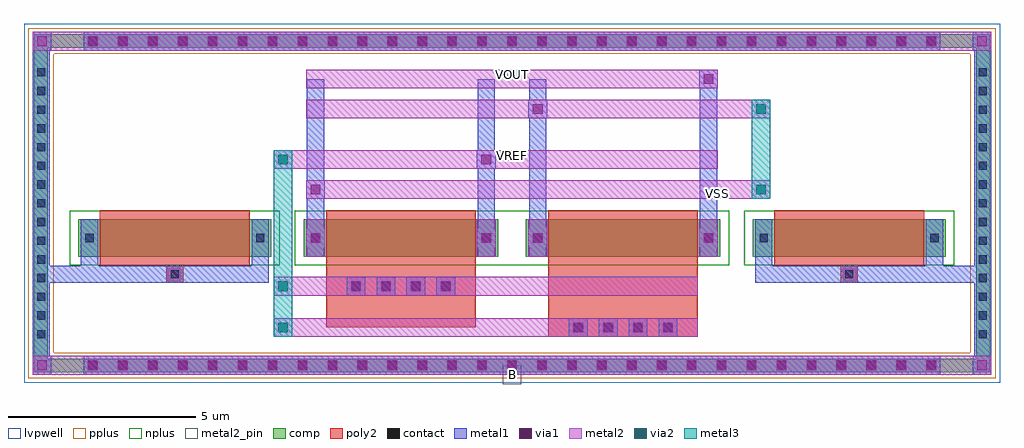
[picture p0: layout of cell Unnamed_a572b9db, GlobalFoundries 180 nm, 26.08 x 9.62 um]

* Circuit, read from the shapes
.subckt Unnamed_a572b9db B VOUT VREF VSS
XM1 B B B B nfet_03v3 w=1u l=4u m=2
XM2 VREF VREF VSS B nfet_03v3 w=1u l=4u
XM3 VOUT VREF VSS B nfet_03v3 w=1u l=4u
.ends

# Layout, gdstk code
import gdstk
lib = gdstk.Library(unit=1e-6, precision=5e-09)
def R(c, l, rs):  # rectangles x0, y0, x1, y1
    for r in rs: c.add(gdstk.rectangle(r[:2], r[2:], *l))
def A(c, l, x, y, w, h, nx, ny, dx, dy):  # array of equal rectangles
    R(c, l, [(x+i*dx, y+j*dy, x+i*dx+w, y+j*dy+h) for i in range(nx) for j in range(ny)])
def P(c, l, *ps):  # polygons
    for p in ps: c.add(gdstk.Polygon(p, *l))
comp = (22, 0)
poly2 = (30, 0)
pplus = (31, 0)
nplus = (32, 0)
contact = (33, 0)
metal1 = (34, 0)
via1 = (35, 0)
metal2 = (36, 0)
metal2_pin = (36, 10)
via2 = (38, 0)
metal3 = (42, 0)
lvpwell = (204, 0)

unnamed_a572b9db = lib.new_cell('Unnamed_a572b9db')
A(unnamed_a572b9db, comp, -11.38, -4.51, 0.36, 0.36, 29, 2, 0.8, 8.66)
A(unnamed_a572b9db, comp, -12.76, -3.68, 0.36, 0.36, 1, 15, 0, 0.5)
A(unnamed_a572b9db, comp, 12.4, -3.68, 0.36, 0.36, 1, 15, 0, 0.5)
R(unnamed_a572b9db, comp, [(-11.38,-4.51,11.38,-4.15), (-12.76,-3.68,-12.4,3.68), (12.4,-3.68,12.76,3.68), (-11.59,-1.43,-6.43,-0.43), (-5.57,-1.43,-0.37,-0.43), (0.37,-1.43,5.57,-0.43), (6.43,-1.43,11.59,-0.43), (-11.38,4.15,11.38,4.51)])
P(unnamed_a572b9db, comp, [(12.76,4.51),(-12.76,4.51),(-12.76,-4.15),(-12.4,-4.15),(-12.4,4.15),(12.4,4.15),(12.4,-4.15),(-12.4,-4.15),(-12.76,-4.15),(-12.76,-4.51),(12.76,-4.51)])
A(unnamed_a572b9db, poly2, 1.59, -3.5, 0.36, 0.36, 4, 1, 0.8, 0)
A(unnamed_a572b9db, poly2, -4.35, -2.4, 0.36, 0.36, 4, 1, 0.8, 0)
R(unnamed_a572b9db, poly2, [(0.97,-3.57,4.97,-3.07), (-4.97,-3.32,-0.97,-1.67), (0.97,-3.07,4.97,-1.67), (-4.97,-2.47,-0.97,-1.97), (-9.24,-2.13,-8.78,-1.67), (8.78,-2.13,9.24,-1.67), (-9.19,-2.08,-8.83,-1.72), (8.83,-2.08,9.19,-1.72), (-4.97,-1.97,-0.97,-1.67), (-11.01,-1.67,-7.01,-0.19), (-4.97,-1.67,-0.97,-0.19), (0.97,-1.67,4.97,-0.19), (7.01,-1.67,11.01,-0.19)])
P(unnamed_a572b9db, pplus, [(12.92,4.67),(-12.92,4.67),(-12.92,-3.99),(-12.24,-3.99),(-12.24,3.99),(12.24,3.99),(12.24,-3.99),(-12.24,-3.99),(-12.92,-3.99),(-12.92,-4.67),(12.92,-4.67)])
R(unnamed_a572b9db, nplus, [(-11.82,-1.66,-6.2,-0.2), (-5.8,-1.66,-0.14,-0.2), (-5.8,-1.66,5.8,-0.2), (0.14,-1.66,5.8,-0.2), (6.2,-1.66,11.82,-0.2)])
A(unnamed_a572b9db, contact, -11.31, -4.44, 0.22, 0.22, 29, 2, 0.8, 8.66)
A(unnamed_a572b9db, contact, -12.69, -3.61, 0.22, 0.22, 1, 15, 0, 0.5)
A(unnamed_a572b9db, contact, 12.47, -3.61, 0.22, 0.22, 1, 15, 0, 0.5)
A(unnamed_a572b9db, contact, 1.66, -3.43, 0.22, 0.22, 4, 1, 0.8, 0)
A(unnamed_a572b9db, contact, -4.28, -2.33, 0.22, 0.22, 4, 1, 0.8, 0)
R(unnamed_a572b9db, contact, [(-9.12,-2.01,-8.9,-1.79), (8.9,-2.01,9.12,-1.79), (-11.4,-1.04,-11.18,-0.82), (-6.84,-1.04,-6.62,-0.82), (-5.36,-1.04,-5.14,-0.82), (-0.8,-1.04,-0.58,-0.82), (0.58,-1.04,0.8,-0.82), (5.14,-1.04,5.36,-0.82), (6.62,-1.04,6.84,-0.82), (11.18,-1.04,11.4,-0.82)])
A(unnamed_a572b9db, metal1, -11.45, -4.58, 0.5, 0.5, 29, 2, 0.8, 8.66)
A(unnamed_a572b9db, metal1, -12.81, -3.73, 0.46, 0.46, 1, 15, 0, 0.5)
A(unnamed_a572b9db, metal1, 12.35, -3.73, 0.46, 0.46, 1, 15, 0, 0.5)
A(unnamed_a572b9db, metal1, 1.52, -3.57, 0.5, 0.5, 4, 1, 0.8, 0)
A(unnamed_a572b9db, metal1, -4.42, -2.47, 0.5, 0.5, 4, 1, 0.8, 0)
R(unnamed_a572b9db, metal1, [(-12.81,-4.58,-12.31,-4.08), (-12.81,-4.58,-12.31,-4.08), (-12.81,-4.58,-12.35,-4.15), (-11.45,-4.58,11.45,-4.08), (12.31,-4.58,12.81,-4.08), (12.31,-4.58,12.81,-4.08), (12.35,-4.58,12.81,-4.15), (-12.81,-4.15,-12.35,4.15), (12.35,-4.15,12.81,4.15), (-12.81,-2.13,-9.24,-1.67), (-11.52,-2.13,-9.24,-1.67), (-11.52,-2.13,-11.06,-1.43), (-9.24,-2.13,-8.78,-1.67), (-8.78,-2.13,-6.5,-1.67), (-6.96,-2.13,-6.5,-1.43), (6.5,-2.13,8.78,-1.67), (6.5,-2.13,6.96,-1.43), (8.78,-2.13,9.24,-1.67), (9.24,-2.13,11.52,-1.67), (9.24,-2.13,12.81,-1.67), (11.06,-2.13,11.52,-1.43), (-11.52,-1.43,-11.06,-0.43), (-6.96,-1.43,-6.5,-0.43), (-5.48,-1.43,-5.02,-0.43), (-0.92,-1.43,-0.46,-0.43), (0.46,-1.43,0.92,-0.43), (5.02,-1.43,5.48,-0.43), (6.5,-1.43,6.96,-0.43), (11.06,-1.43,11.52,-0.43), (-5.5,-1.18,-5,-0.68), (-5.5,-1.18,-5,-0.68), (-0.94,-1.18,-0.44,-0.68), (-0.94,-1.18,-0.44,-0.68), (0.44,-1.18,0.94,-0.68), (0.44,-1.18,0.94,-0.68), (5,-1.18,5.5,-0.68), (5,-1.18,5.5,-0.68), (-11.52,-1.16,-11.06,-0.7), (-6.96,-1.16,-6.5,-0.7), (-5.48,-1.16,-5.02,-0.7), (-0.92,-1.16,-0.46,-0.7), (0.46,-1.16,0.92,-0.7), (5.02,-1.16,5.48,-0.7), (6.5,-1.16,6.96,-0.7), (11.06,-1.16,11.52,-0.7), (-5.48,-0.43,-5.02,0.62), (-5.48,-0.43,-5.02,3.32), (-0.92,-0.43,-0.46,1.42), (-0.92,-0.43,-0.46,3.32), (0.46,-0.43,0.92,2.77), (0.46,-0.43,0.92,3.32), (5.02,-0.43,5.48,3.57), (5.02,-0.43,5.48,3.32), (-5.5,0.12,-5,0.62), (-0.94,0.92,-0.44,1.42), (0.44,2.27,0.94,2.77), (5,3.07,5.5,3.57), (-12.81,4.08,-12.31,4.58), (-12.81,4.08,-12.31,4.58), (-11.45,4.08,11.45,4.58), (12.31,4.08,12.81,4.58), (12.31,4.08,12.81,4.58), (-12.81,4.15,-12.35,4.58), (12.35,4.15,12.81,4.58)])
A(unnamed_a572b9db, via1, -11.33, -4.46, 0.26, 0.26, 29, 2, 0.8, 8.66)
A(unnamed_a572b9db, via1, 1.64, -3.45, 0.26, 0.26, 4, 1, 0.8, 0)
A(unnamed_a572b9db, via1, -4.3, -2.35, 0.26, 0.26, 4, 1, 0.8, 0)
R(unnamed_a572b9db, via1, [(-12.69,-4.46,-12.43,-4.2), (12.43,-4.46,12.69,-4.2), (-5.38,-1.06,-5.12,-0.8), (-0.82,-1.06,-0.56,-0.8), (0.56,-1.06,0.82,-0.8), (5.12,-1.06,5.38,-0.8), (-5.38,0.24,-5.12,0.5), (-0.82,1.04,-0.56,1.3), (0.56,2.39,0.82,2.65), (5.12,3.19,5.38,3.45), (-12.69,4.2,-12.43,4.46), (12.43,4.2,12.69,4.46)])
A(unnamed_a572b9db, metal2, -11.45, -4.58, 0.5, 0.5, 29, 2, 0.8, 8.66)
A(unnamed_a572b9db, metal2, 1.52, -3.57, 0.5, 0.5, 4, 1, 0.8, 0)
A(unnamed_a572b9db, metal2, -4.42, -2.47, 0.5, 0.5, 4, 1, 0.8, 0)
R(unnamed_a572b9db, metal2, [(-12.81,-4.58,-12.31,-4.08), (-12.81,-4.58,-12.31,-4.08), (-12.81,-4.58,-12.4,-4.08), (-12.4,-4.58,12.4,-4.08), (12.31,-4.58,12.81,-4.08), (12.31,-4.58,12.81,-4.08), (12.4,-4.58,12.81,-4.08), (-6.37,-3.57,-5.87,-3.07), (-6.37,-3.57,-4.97,-3.07), (-4.97,-3.57,4.97,-3.07), (0.97,-3.57,4.97,-3.07), (-6.37,-2.47,-5.87,-1.97), (-6.37,-2.47,-4.97,-1.97), (-4.97,-2.47,-0.97,-1.97), (-4.97,-2.47,4.97,-1.97), (-5.5,-1.43,-5,-0.43), (-0.94,-1.43,-0.44,-0.43), (0.44,-1.43,0.94,-0.43), (5,-1.43,5.5,-0.43), (-5.5,-1.18,-5,-0.68), (-0.94,-1.18,-0.44,-0.68), (0.44,-1.18,0.94,-0.68), (5,-1.18,5.5,-0.68), (-5.5,0.12,-5,0.62), (-5.5,0.12,-0.44,0.62), (-5.5,0.12,5.5,0.62), (5.5,0.12,6.9,0.62), (6.4,0.12,6.9,0.62), (-6.37,0.92,-5.87,1.42), (-6.37,0.92,-5.87,1.42), (-6.37,0.92,-5.5,1.42), (-5.5,0.92,-0.44,1.42), (-5.5,0.92,5.5,1.42), (-0.94,0.92,-0.44,1.42), (-5.5,2.27,5.5,2.77), (0.44,2.27,0.94,2.77), (0.44,2.27,5.5,2.77), (5.5,2.27,6.9,2.77), (6.4,2.27,6.9,2.77), (-5.5,3.07,5.5,3.57), (0.44,3.07,5.5,3.57), (5,3.07,5.5,3.57), (-12.81,4.08,-12.31,4.58), (-12.81,4.08,-12.31,4.58), (-12.81,4.08,-12.4,4.58), (-12.4,4.08,12.4,4.58), (12.31,4.08,12.81,4.58), (12.31,4.08,12.81,4.58), (12.4,4.08,12.81,4.58)])
R(unnamed_a572b9db, metal2_pin, [(-0.25,-4.83,0.25,-4.33), (5.365,0.12,5.635,0.39), (-0.135,1.15,0.135,1.42), (-0.135,3.3,0.135,3.57)])
R(unnamed_a572b9db, via2, [(-6.25,-3.45,-5.99,-3.19), (-6.25,-2.35,-5.99,-2.09), (6.52,0.24,6.78,0.5), (-6.25,1.04,-5.99,1.3), (6.52,2.39,6.78,2.65)])
R(unnamed_a572b9db, metal3, [(-6.37,-3.57,-5.87,-3.07), (-6.37,-3.57,-5.87,-3.07), (-6.37,-3.57,-5.87,-1.97), (-6.37,-2.47,-5.87,-1.97), (-6.37,-2.47,-5.87,-1.97), (-6.37,-1.97,-5.87,1.42), (6.4,0.12,6.9,0.62), (6.4,0.12,6.9,0.62), (6.4,0.12,6.9,2.77), (-6.37,0.92,-5.87,1.42), (-6.37,0.92,-5.87,1.42), (6.4,2.27,6.9,2.77), (6.4,2.27,6.9,2.77)])
P(unnamed_a572b9db, metal3, [(6.9,0.12),(6.9,0.12),(6.9,0.62),(6.9,0.62)],
  [(6.9,2.27),(6.9,2.27),(6.9,2.77),(6.9,2.77)],
  [(-5.87,-3.57),(-5.87,-3.57),(-5.87,-3.07),(-5.87,-3.07)],
  [(-5.87,-2.47),(-5.87,-2.47),(-5.87,-1.97),(-5.87,-1.97)])
R(unnamed_a572b9db, lvpwell, [(-13.04,-4.79,13.04,4.79), (-11.94,-3.69,11.94,3.69)])
unnamed_a572b9db.add(gdstk.Label('B', (0,-4.58), layer=36, texttype=10))
unnamed_a572b9db.add(gdstk.Label('VOUT', (0,3.435), layer=36, texttype=10))
unnamed_a572b9db.add(gdstk.Label('VREF', (0,1.285), layer=36, texttype=10))
unnamed_a572b9db.add(gdstk.Label('VSS', (5.5,0.255), layer=36, texttype=10))

lib.write_gds('Unnamed_a572b9db.gds')
